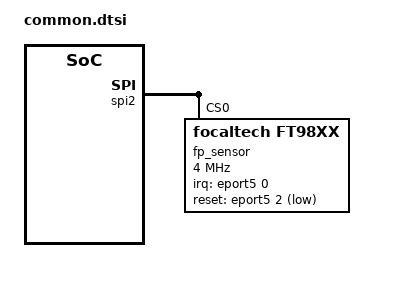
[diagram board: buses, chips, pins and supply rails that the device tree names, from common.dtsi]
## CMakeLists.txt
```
# Copyright 2026 The ChromiumOS Authors
# Use of this source code is governed by a BSD-style license that can be
# found in the LICENSE file.

if(DEFINED CONFIG_CROS_EC_RO)

add_library(config_page OBJECT src/config_page.c)
set_source_files_properties(src/config_page.c PROPERTIES
  COMPILE_OPTIONS $<TARGET_PROPERTY:compiler,prohibit_lto>
)

target_link_libraries(config_page PUBLIC zephyr_interface)
target_link_libraries(config_page PUBLIC cros_ec_interface)

add_custom_target(config_page_binary ALL
  COMMAND ${CMAKE_OBJCOPY} -Obinary --only-section .data.config_page
	$<TARGET_OBJECTS:config_page>
	${CMAKE_BINARY_DIR}/config_page.bin
  COMMENT "Generating binary with configuration page"
  DEPENDS config_page
  VERBATIM
)

endif()

# TODO(b/502744651): Remove OTP initialization once all boards are initialized
if(DEFINED CONFIG_CROS_EC_RW AND DEFINED CONFIG_FOCALTECH_OTP_KEY)
  zephyr_library_sources("src/otp_init.c")
endif()
```

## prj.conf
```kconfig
# Copyright 2026 The ChromiumOS Authors
# Use of this source code is governed by a BSD-style license that can be
# found in the LICENSE file.

CONFIG_BOARD_FT9001=y

# The NULL pointer exception page size must be a power of two
# and have size greater or equal ARM_MPU_REGION_MIN_ALIGN_AND_SIZE
CONFIG_CORTEX_M_NULL_POINTER_EXCEPTION_PAGE_SIZE=0x80

# Peripherials
CONFIG_GPIO=y
CONFIG_PINCTRL=y
CONFIG_SPI_ASYNC=y
CONFIG_HWINFO=y
CONFIG_HWINFO_FOCALTECH=y

# Stack and rollback protection
CONFIG_ARM_MPU=y
CONFIG_HW_STACK_PROTECTION=y

# Do not use partition for code, because the code location is different for RO
# and RW
CONFIG_USE_DT_CODE_PARTITION=n

# Enable USB for HC
CONFIG_UDC_DRIVER=y
CONFIG_USB_DEVICE_STACK_NEXT=y
# 2kB looks sufficient, but add additional margin for future changes
CONFIG_UDC_BUF_POOL_SIZE=3072
CONFIG_USBD_THREAD_STACK_SIZE=2048

CONFIG_USB_DEVICE_MANUFACTURER="Google"
CONFIG_USB_DEVICE_PRODUCT="FPMCU"
CONFIG_USB_DEVICE_VID=0x18D1
CONFIG_USB_DEVICE_SELF_POWERED=n
CONFIG_USB_DEVICE_REMOTE_WAKEUP=y
CONFIG_USB_DEVICE_SN="0"
CONFIG_USB_DEVICE_SN_HWINFO=y
CONFIG_USB_DEVICE_MAX_POWER=250

# Use USB for signaling MKBP events
CONFIG_PLATFORM_EC_MKBP_USE_GPIO=n
CONFIG_PLATFORM_EC_MKBP_USE_USB=y

# Sizes adjusted for 512 bytes payload for write and read flash host commands
CONFIG_EC_HOST_CMD_HANDLER_RX_BUFFER_SIZE=528
CONFIG_EC_HOST_CMD_HANDLER_TX_BUFFER_SIZE=520

# BBRAM not supported on FT9001, use RAM instead
CONFIG_BBRAM=n
CONFIG_RETAINED_MEM=y
CONFIG_RETAINED_MEM_INIT_PRIORITY=15
CONFIG_RETAINED_MEM_MUTEX_FORCE_DISABLE=y

# Arch init for RO -> RW jump
CONFIG_INIT_ARCH_HW_AT_BOOT=y

# Make possibility to enter bootloader
CONFIG_PLATFORM_EC_HOST_COMMAND_ENTER_BOOTLOADER=y

# No access to hardware WP pin, use external method
CONFIG_PLATFORM_EC_WP_EXTERNAL=y

# Current rollback version value.
CONFIG_PLATFORM_EC_ROLLBACK_VERSION=1

# Make sure to start shell before main
CONFIG_PLATFORM_EC_CONSOLE_START_SHELL_TASK=y

# ASCP s_goog replacement
CONFIG_ASCP_S_GOOG_MATCH_FILE="s_goog_match.bin"
CONFIG_ASCP_S_GOOG_REPLACE_FILE="s_goog_replace.bin"

# Watchdog, 3000ms is the maximum time window at system clock 160M.
CONFIG_PLATFORM_EC_WATCHDOG_PERIOD_MS=3000

# Enable signaling logs via events to allow autosuspend
CONFIG_PLATFORM_EC_HOSTCMD_CONSOLE_EVENT=y

CONFIG_FOCALTECH_OTP_KEY=y
```

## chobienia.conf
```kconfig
# Copyright 2026 The ChromiumOS Authors
# Use of this source code is governed by a BSD-style license that can be
# found in the LICENSE file.

CONFIG_USB_DEVICE_PID=0x5403
```

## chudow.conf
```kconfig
# Copyright 2026 The ChromiumOS Authors
# Use of this source code is governed by a BSD-style license that can be
# found in the LICENSE file.

CONFIG_USB_DEVICE_PID=0x5404
```

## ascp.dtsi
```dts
/* Copyright 2026 The ChromiumOS Authors.
 * Use of this source code is governed by a BSD-style license that can be
 * found in the LICENSE file.
 */

/ {
	ascp: ascp_node {
		compatible = "cros-ec,ascp-mem-map";
		pk-m = <&sdcp_pk_m>;
		s-goog = <&sdcp_s_goog>;
		pk-d = <&sdcp_pk_d>;
		s-m = <&sdcp_s_m>;
		pk-f = <&sdcp_pk_f>;
		h-f = <&sdcp_h_f>;
		s-d = <&sdcp_s_d>;
		sk-f = <&sdcp_sk_f>;
	};
};
```

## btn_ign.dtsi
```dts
/* Copyright 2026 The ChromiumOS Authors
 * Use of this source code is governed by a BSD-style license that can be
 * found in the LICENSE file.
 */

/ {
	aliases {
		gpio-btn-ign-out = &gpio_btn_ign_out;
	};

	gpio-leds {
		/* Common pattern in Zephyr for GPIO outputs */
		compatible = "gpio-leds";

		gpio_btn_ign_out: gpio_btn_ign_out {
			gpios = <&eport5 1 GPIO_ACTIVE_HIGH>;
		};
	};
};
```

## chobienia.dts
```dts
/* Copyright 2026 The ChromiumOS Authors.
 * Use of this source code is governed by a BSD-style license that can be
 * found in the LICENSE file.
 */

#include "common.dtsi"

#define FT9849_COMMON_IMAGE_PROPS \
	width = <80>; \
	height = <128>; \
	bits-per-pixel = <12>; \
	frame-size = <30720>; \
	image-data-offset-bytes = <0>; \
	v4l2-pixel-format = "V4L2_PIX_FMT_GREY";

&fp_sensor {
	configs {
		compatible = "fingerprint-image-frame-params";
		config0 {
			FT9849_COMMON_IMAGE_PROPS
			capture-type = "FINGERPRINT_CAPTURE_TYPE_VENDOR_FORMAT";
		};
		config1 {
			FT9849_COMMON_IMAGE_PROPS
			capture-type = "FINGERPRINT_CAPTURE_TYPE_SIMPLE_IMAGE";
		};
		config2 {
			FT9849_COMMON_IMAGE_PROPS
			capture-type = "FINGERPRINT_CAPTURE_TYPE_PATTERN0";
		};
		config3 {
			FT9849_COMMON_IMAGE_PROPS
			capture-type = "FINGERPRINT_CAPTURE_TYPE_PATTERN1";
		};
		config4 {
			FT9849_COMMON_IMAGE_PROPS
			capture-type = "FINGERPRINT_CAPTURE_TYPE_QUALITY_TEST";
		};
		config5 {
			FT9849_COMMON_IMAGE_PROPS
			capture-type = "FINGERPRINT_CAPTURE_TYPE_RESET_TEST";
		};
	};
};
```

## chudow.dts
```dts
/* Copyright 2026 The ChromiumOS Authors.
 * Use of this source code is governed by a BSD-style license that can be
 * found in the LICENSE file.
 */

#include "common.dtsi"

#define FT9869_COMMON_IMAGE_PROPS \
	width = <40>; \
	height = <196>; \
	bits-per-pixel = <12>; \
	frame-size = <28320>; \
	image-data-offset-bytes = <0>; \
	v4l2-pixel-format = "V4L2_PIX_FMT_GREY";

&fp_sensor {
	configs {
		compatible = "fingerprint-image-frame-params";
		config0 {
			FT9869_COMMON_IMAGE_PROPS
			capture-type = "FINGERPRINT_CAPTURE_TYPE_VENDOR_FORMAT";
		};
		config1 {
			FT9869_COMMON_IMAGE_PROPS
			capture-type = "FINGERPRINT_CAPTURE_TYPE_SIMPLE_IMAGE";
		};
		config2 {
			FT9869_COMMON_IMAGE_PROPS
			capture-type = "FINGERPRINT_CAPTURE_TYPE_PATTERN0";
		};
		config3 {
			FT9869_COMMON_IMAGE_PROPS
			capture-type = "FINGERPRINT_CAPTURE_TYPE_PATTERN1";
		};
		config4 {
			FT9869_COMMON_IMAGE_PROPS
			capture-type = "FINGERPRINT_CAPTURE_TYPE_QUALITY_TEST";
		};
		config5 {
			FT9869_COMMON_IMAGE_PROPS
			capture-type = "FINGERPRINT_CAPTURE_TYPE_RESET_TEST";
		};
	};
};
```

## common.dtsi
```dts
/* Copyright 2026 The ChromiumOS Authors.
 * Use of this source code is governed by a BSD-style license that can be
 * found in the LICENSE file.
 */

#include <ft/ft90/common_priv.dtsi>

#include "soc.dtsi"
#include "gpio.dtsi"
#include "rwsig.dtsi"
#include "ascp.dtsi"
#include "btn_ign.dtsi"

#include <cros/integrated_fwid.dtsi>
#include <cros/integrated_ro_frid.dtsi>

/ {
	chosen {
		cros-fp,fingerprint-sensor = &fp_sensor;
		cros-fp,fingerprint-memory-frame = &psram;
		cros-fp,fingerprint-memory-template = &psram;
		/* Reference the flash header not to omit it. */
		flash-header = &flash_header;
		cros-ec,watchdog = &wdt0;
	};

	named-bbram-regions {
		compatible = "named-bbram-regions";

		scratchpad {
			offset = <0x00>;
			size = <0x02>;
		};
		saved-reset-flags {
			offset = <0x02>;
			size = <0x04>;
		};
	};

	binman {
		/* The first 4kB of the flash is reserved for the config page */
		wp-ro {
			offset = <0x0>;
			size = <0x80000>;
			flash-header {
				offset = <0x0>;
				size = <0x1000>;
				type = "blob";
				filename = "../build-ro/config_page.bin";
				pad-byte = <0xff>;
			};
			ec-ro {
				offset = <0x1000>;
				size = <0x7f000>;
				ro-fw {
					/*
					 * Clang doesn't emit STT_SECTION symbols (also
					 * called 'section symbols'), so 'rom_start'
					 * symbol is not available. Fortunately, Zephyr
					 * linker scripts provide '__rom_start_address'
					 * symbol which points to the beginning of
					 * 'rom_start' section.
					 */
					elf-base-sym = "__rom_start_address";
				};
				/* SHA256 of RO firmware */
				ro-checksum {
					compatible = "cros-ec,flash-layout";
					type = "section";
					offset = <(0x7f000 - 32)>;
					size = <32>;
					pad-byte = <0xff>;
				};
				pad-byte = <0xff>;
			};
		};

		rollback0 {
			offset = <0x80000>;
			size = <0x1000>;
			type = "blob";
			filename = "../build-rw/rollback_initial_data.bin";
		};

		rollback1 {
			offset = <0x81000>;
			size = <0x1000>;
			type = "blob";
			filename = "../build-rw/rollback_initial_data.bin";
		};

		ec-rw {
			offset = <0x82000>;
			size = <0x7e000>;
			rw-fw {
				/*
				 * Clang doesn't emit STT_SECTION symbols (also
				 * called 'section symbols'), so 'rom_start'
				 * symbol is not available. Fortunately, Zephyr
				 * linker scripts provide '__rom_start_address'
				 * symbol which points to the beginning of
				 * 'rom_start' section.
				 */
				zephyr-rw {
					elf-base-sym = "__rom_start_address";
				};
			};
		};
		pad-byte = <0xff>;
	};
};

&flash0 {
	partitions {
		compatible = "fixed-partitions";
		#address-cells = <1>;
		#size-cells = <1>;

		bootloader: partition@0 {
			label = "bootloader";
			reg = <0x0 DT_SIZE_K(512)>;
		};

		rollback0: partition@100000 {
			label = "rollback0";
			reg = <0x100000 DT_SIZE_K(4)>;
		};

		rollback1: partition@101000 {
			label = "rollback1";
			reg = <0x101000 DT_SIZE_K(4)>;
		};

		sdcp_s_goog: partition@1000 {
			label = "sdcp_s_goog";
			reg = <0x1000 64>;
		};

		sdcp_pk_d: partition@1408 {
			label = "sdcp_pk_d";
			reg = <0x1408 65>;
		};

		sdcp_s_m: partition@1454 {
			label = "sdcp_s_m";
			reg = <0x1454 64>;
		};

		sdcp_pk_m: partition@149c {
			label = "sdcp_pk_m";
			reg = <0x149c 65>;
		};

	};
};

&spi2 {
	fp_sensor: ft98xx@0 {
		compatible = "focaltech,ft98xx";
		reg = <0>;
		spi-max-frequency = <4000000>;

		irq-gpios = <&eport5 0 (GPIO_ACTIVE_HIGH | GPIO_PULL_DOWN)>;
		reset-gpios = <&eport5 2 GPIO_ACTIVE_LOW>;
	};
};
```

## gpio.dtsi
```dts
/* Copyright 2026 The ChromiumOS Authors.
 * Use of this source code is governed by a BSD-style license that can be
 * found in the LICENSE file.
 */

#include <dt-bindings/gpio_defines.h>

/ {
	named-gpios {
		compatible = "named-gpios";

		entering-rw {
			enum-name = "GPIO_ENTERING_RW";
		};

		gpio_btn_ign_out: gpio_btn_ign_out {
			gpios = <&eport5 1 GPIO_OUTPUT_INACTIVE>;
		};
	};
};
```

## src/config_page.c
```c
/* Copyright 2026 The ChromiumOS Authors
 * Use of this source code is governed by a BSD-style license that can be
 * found in the LICENSE file.
 */

#include <stddef.h>
#include <stdint.h>

#include <zephyr/toolchain.h>

struct ft_config_page {
	/* 0x00 - 0x04; 0x3AEC3721 for valid code */
	uint32_t code_valid_control_word;
	uint8_t reserved_04_18[0x14];
	/* 0x18 - 0x1C; 0x904E3C21 for valid code */
	uint32_t config_page_verification_enable;
	uint8_t reserved_1C_20[0x4];
	/* 0x20 - 0x24 */
	uint32_t code_start_address;
	/* 0x24 - 0x28 */
	uint32_t code_length;
	uint8_t reserved_28_40[0x18];
	/* 0x40 - 0x140 */
	uint8_t code_sig[256]; /* RSA2048 code signature */
	/* 0x140 - 0x160 */
	uint8_t config_page_hash[32]; /* SHA256 of the config page */
	/* 0x160 - 0x190 */
	uint8_t spi_flash_param[0x30];
	uint8_t reserved_190_1F4[0x64];
	/* 0x1F4 - 0x1F8; 0x301821EF for OTP */
	uint32_t config_page_location;
	uint8_t reserved_1F8_200[0x8];
} __packed;

struct ft_config_page config_page = {
	.code_valid_control_word = 0x3AEC3721,
	.reserved_04_18 = { 0xff, 0xff, 0xff, 0xff, 0xff, 0xff, 0xff,
			    0xff, 0xff, 0xff, 0xff, 0xff, 0xff, 0xff,
			    0xff, 0xff, 0xff, 0xff, 0xff, 0xff },
	.config_page_verification_enable = 0xffffffff,
	.reserved_1C_20 = { 0xff, 0xff, 0xff, 0xff },
	.code_start_address =
		CONFIG_FLASH_BASE_ADDRESS + CONFIG_CROS_EC_RO_MEM_OFF,
	/* Size of RO, but without SHA256 checksum */
	.code_length = CONFIG_CROS_EC_RO_SIZE - 32,
	.reserved_28_40 = { 0xff, 0xff, 0xff, 0xff, 0xff, 0xff, 0xff, 0xff,
			    0xff, 0xff, 0xff, 0xff, 0xff, 0xff, 0xff, 0xff,
			    0xff, 0xff, 0xff, 0xff, 0xff, 0xff, 0xff, 0xff },
	.code_sig = { 0xff, 0xff, 0xff, 0xff, 0xff, 0xff, 0xff, 0xff, 0xff,
		      0xff, 0xff, 0xff, 0xff, 0xff, 0xff, 0xff, 0xff, 0xff,
		      0xff, 0xff, 0xff, 0xff, 0xff, 0xff, 0xff, 0xff, 0xff,
		      0xff, 0xff, 0xff, 0xff, 0xff, 0xff, 0xff, 0xff, 0xff,
		      0xff, 0xff, 0xff, 0xff, 0xff, 0xff, 0xff, 0xff, 0xff,
		      0xff, 0xff, 0xff, 0xff, 0xff, 0xff, 0xff, 0xff, 0xff,
		      0xff, 0xff, 0xff, 0xff, 0xff, 0xff, 0xff, 0xff, 0xff,
		      0xff, 0xff, 0xff, 0xff, 0xff, 0xff, 0xff, 0xff, 0xff,
		      0xff, 0xff, 0xff, 0xff, 0xff, 0xff, 0xff, 0xff, 0xff,
		      0xff, 0xff, 0xff, 0xff, 0xff, 0xff, 0xff, 0xff, 0xff,
		      0xff, 0xff, 0xff, 0xff, 0xff, 0xff, 0xff, 0xff, 0xff,
		      0xff, 0xff, 0xff, 0xff, 0xff, 0xff, 0xff, 0xff, 0xff,
		      0xff, 0xff, 0xff, 0xff, 0xff, 0xff, 0xff, 0xff, 0xff,
		      0xff, 0xff, 0xff, 0xff, 0xff, 0xff, 0xff, 0xff, 0xff,
		      0xff, 0xff, 0xff, 0xff, 0xff, 0xff, 0xff, 0xff, 0xff,
		      0xff, 0xff, 0xff, 0xff, 0xff, 0xff, 0xff, 0xff, 0xff,
		      0xff, 0xff, 0xff, 0xff, 0xff, 0xff, 0xff, 0xff, 0xff,
		      0xff, 0xff, 0xff, 0xff, 0xff, 0xff, 0xff, 0xff, 0xff,
		      0xff, 0xff, 0xff, 0xff, 0xff, 0xff, 0xff, 0xff, 0xff,
		      0xff, 0xff, 0xff, 0xff, 0xff, 0xff, 0xff, 0xff, 0xff,
		      0xff, 0xff, 0xff, 0xff, 0xff, 0xff, 0xff, 0xff, 0xff,
		      0xff, 0xff, 0xff, 0xff, 0xff, 0xff, 0xff, 0xff, 0xff,
		      0xff, 0xff, 0xff, 0xff, 0xff, 0xff, 0xff, 0xff, 0xff,
		      0xff, 0xff, 0xff, 0xff, 0xff, 0xff, 0xff, 0xff, 0xff,
		      0xff, 0xff, 0xff, 0xff, 0xff, 0xff, 0xff, 0xff, 0xff,
		      0xff, 0xff, 0xff, 0xff, 0xff, 0xff, 0xff, 0xff, 0xff,
		      0xff, 0xff, 0xff, 0xff, 0xff, 0xff, 0xff, 0xff, 0xff,
		      0xff, 0xff, 0xff, 0xff, 0xff, 0xff, 0xff, 0xff, 0xff,
		      0xff, 0xff, 0xff, 0xff },
	.config_page_hash = { 0xff, 0xff, 0xff, 0xff, 0xff, 0xff, 0xff, 0xff,
			      0xff, 0xff, 0xff, 0xff, 0xff, 0xff, 0xff, 0xff,
			      0xff, 0xff, 0xff, 0xff, 0xff, 0xff, 0xff, 0xff,
			      0xff, 0xff, 0xff, 0xff, 0xff, 0xff, 0xff, 0xff },
	.spi_flash_param = { 0x66, 0x99, 0x38, 0xc0, 0xeb, 0x0c, 0xff, 0xff,
			     0xff, 0xff, 0xff, 0xff, 0xff, 0xff, 0xff, 0xff,
			     0x02, 0x02, 0x21, 0x04, 0xff, 0xff, 0xff, 0xff,
			     0xff, 0xff, 0xff, 0xff, 0xff, 0xff, 0xff, 0xff,
			     0xff, 0xff, 0xff, 0xff, 0xff, 0xff, 0xff, 0xff,
			     0xff, 0xff, 0xff, 0xff, 0xff, 0xff, 0xff, 0xff },
	.reserved_190_1F4 = { 0xff, 0xff, 0xff, 0xff, 0xff, 0xff, 0xff, 0xff,
			      0xff, 0xff, 0xff, 0xff, 0xff, 0xff, 0xff, 0xff,
			      0xff, 0xff, 0xff, 0xff, 0xff, 0xff, 0xff, 0xff,
			      0xff, 0xff, 0xff, 0xff, 0xff, 0xff, 0xff, 0xff,
			      0xff, 0xff, 0xff, 0xff, 0xff, 0xff, 0xff, 0xff,
			      0xff, 0xff, 0xff, 0xff, 0xff, 0xff, 0xff, 0xff,
			      0xff, 0xff, 0xff, 0xff, 0xff, 0xff, 0xff, 0xff,
			      0xff, 0xff, 0xff, 0xff, 0xff, 0xff, 0xff, 0xff,
			      0xff, 0xff, 0xff, 0xff, 0xff, 0xff, 0xff, 0xff,
			      0xff, 0xff, 0xff, 0xff, 0xff, 0xff, 0xff, 0xff,
			      0xff, 0xff, 0xff, 0xff, 0xff, 0xff, 0xff, 0xff,
			      0xff, 0xff, 0xff, 0xff, 0xff, 0xff, 0xff, 0xff,
			      0xff, 0xff, 0xff, 0xff },
	.config_page_location = 0xffffffff,
	.reserved_1F8_200 = { 0xff, 0xff, 0xff, 0xff, 0xff, 0xff, 0xff, 0xff },
};
```

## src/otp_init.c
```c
/* Copyright 2026 The ChromiumOS Authors
 * Use of this source code is governed by a BSD-style license that can be
 * found in the LICENSE file.
 */

#include <zephyr/init.h>

#include <otp_key.h>

/* Initialize OTP key if not already initialized */
static int initialize_otp(void)
{
	otp_key_provision();

	return 0;
}
SYS_INIT(initialize_otp, APPLICATION, CONFIG_APPLICATION_INIT_PRIORITY);
```

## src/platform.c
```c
/* Copyright 2026 The ChromiumOS Authors
 * Use of this source code is governed by a BSD-style license that can be
 * found in the LICENSE file.
 */

#include "system.h"
#include "wp_external.h"

/* TODO(b/434894113): Change based on the final solution of WP state. */
static int disable_write_protect(void)
{
	disable_write_protect_external();

	return 0;
}
SYS_INIT(disable_write_protect, POST_KERNEL, 0);
```
